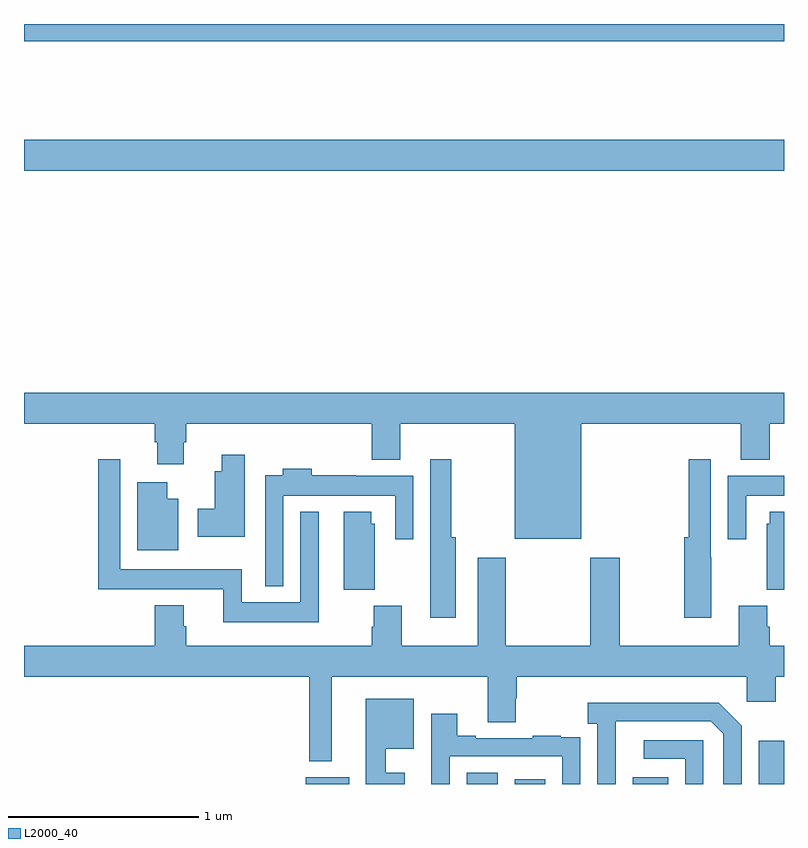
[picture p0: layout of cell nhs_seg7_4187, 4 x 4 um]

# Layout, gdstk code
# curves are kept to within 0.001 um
import gdstk
lib = gdstk.Library(unit=1e-6, precision=1e-09)
def R(c, l, rs):  # rectangles x0, y0, x1, y1
    for r in rs: c.add(gdstk.rectangle(r[:2], r[2:], *l))
def P(c, l, *ps):  # polygons
    for p in ps: c.add(gdstk.Polygon(p, *l))
L2000_40 = (2000, 40)

nhs_seg7_4187 = lib.new_cell('nhs_seg7_4187')
R(nhs_seg7_4187, L2000_40, [(376.484,1052,376.711,1052.035), (377.33,1052,377.494,1052.06), (377.582,1052,377.743,1052.026), (378.203,1052,378.391,1052.035), (378.866,1052,379,1052.227), (375,1055.228,379,1055.392), (375,1055.908,379,1056)])
P(nhs_seg7_4187, L2000_40, [(377.932,1053.896),(378.773,1053.896),(378.773,1053.707),(378.926,1053.707),(378.926,1053.896),(379,1053.896),(379,1054.06),(375,1054.06),(375,1053.896),(375.689,1053.896),(375.689,1053.798),(375.701,1053.798),(375.701,1053.684),(375.841,1053.684),(375.841,1053.798),(375.854,1053.798),(375.854,1053.896),(376.829,1053.896),(376.829,1053.707),(376.981,1053.707),(376.981,1053.896),(377.582,1053.896),(377.582,1053.29),(377.932,1053.29)],
  [(376.162,1053.733),(376.04,1053.733),(376.04,1053.646),(376.004,1053.646),(376.004,1053.45),(375.915,1053.45),(375.915,1053.302),(376.162,1053.302)],
  [(376.552,1053.433),(376.455,1053.433),(376.455,1052.956),(376.146,1052.956),(376.146,1053.13),(375.507,1053.13),(375.507,1053.709),(375.391,1053.709),(375.391,1053.024),(375.514,1053.024),(375.514,1053.026),(376.049,1053.026),(376.049,1052.852),(376.552,1052.852)],
  [(378.616,1053.194),(378.615,1053.194),(378.615,1053.709),(378.499,1053.709),(378.499,1053.298),(378.475,1053.298),(378.475,1052.874),(378.616,1052.874)],
  [(377.272,1053.298),(377.248,1053.298),(377.248,1053.709),(377.139,1053.709),(377.139,1053.194),(377.138,1053.194),(377.138,1052.874),(377.272,1052.874)],
  [(376.365,1053.518),(376.953,1053.518),(376.953,1053.288),(377.049,1053.288),(377.049,1053.622),(376.745,1053.622),(376.745,1053.625),(376.514,1053.625),(376.514,1053.658),(376.361,1053.658),(376.361,1053.625),(376.269,1053.625),(376.269,1053.041),(376.365,1053.041)],
  [(378.801,1053.518),(379,1053.518),(379,1053.622),(378.705,1053.622),(378.705,1053.288),(378.801,1053.288)],
  [(375.811,1053.502),(375.754,1053.502),(375.754,1053.589),(375.596,1053.589),(375.596,1053.23),(375.811,1053.23)],
  [(376.846,1053.369),(376.828,1053.369),(376.828,1053.433),(376.682,1053.433),(376.682,1053.022),(376.846,1053.022)],
  [(379,1053.433),(378.926,1053.433),(378.926,1053.369),(378.908,1053.369),(378.908,1053.022),(379,1053.022)],
  [(376.621,1052.564),(377.441,1052.564),(377.441,1052.326),(377.589,1052.326),(377.589,1052.451),(377.594,1052.451),(377.594,1052.564),(378.804,1052.564),(378.804,1052.433),(378.956,1052.433),(378.956,1052.564),(379,1052.564),(379,1052.728),(378.926,1052.728),(378.926,1052.828),(378.913,1052.828),(378.913,1052.937),(378.761,1052.937),(378.761,1052.728),(378.135,1052.728),(378.135,1053.19),(377.98,1053.19),(377.98,1052.728),(377.535,1052.728),(377.535,1053.19),(377.387,1053.19),(377.387,1052.728),(376.989,1052.728),(376.989,1052.937),(376.841,1052.937),(376.841,1052.828),(376.829,1052.828),(376.829,1052.728),(375.854,1052.728),(375.854,1052.829),(375.841,1052.829),(375.841,1052.941),(375.689,1052.941),(375.689,1052.728),(375,1052.728),(375,1052.564),(376.5,1052.564),(376.5,1052.12),(376.621,1052.12)],
  [(377.005,1052.059),(376.903,1052.059),(376.903,1052.186),(377.05,1052.186),(377.05,1052.449),(376.799,1052.449),(376.799,1052),(377.005,1052)],
  [(378.114,1052.131),(378.115,1052.331),(378.615,1052.331),(378.681,1052.265),(378.681,1052),(378.777,1052),(378.777,1052.307),(378.656,1052.428),(377.967,1052.428),(377.967,1052.318),(378.018,1052.318),(378.018,1052),(378.114,1052)],
  [(377.241,1052.145),(377.832,1052.145),(377.832,1052),(377.928,1052),(377.928,1052.138),(377.927,1052.138),(377.927,1052.247),(377.825,1052.247),(377.825,1052.254),(377.677,1052.254),(377.677,1052.241),(377.377,1052.241),(377.377,1052.254),(377.281,1052.254),(377.281,1052.371),(377.144,1052.371),(377.144,1052),(377.241,1052)],
  [(378.576,1052.229),(378.261,1052.229),(378.261,1052.133),(378.48,1052.133),(378.48,1052),(378.576,1052)])

lib.write_gds('nhs_seg7_4187.gds')
